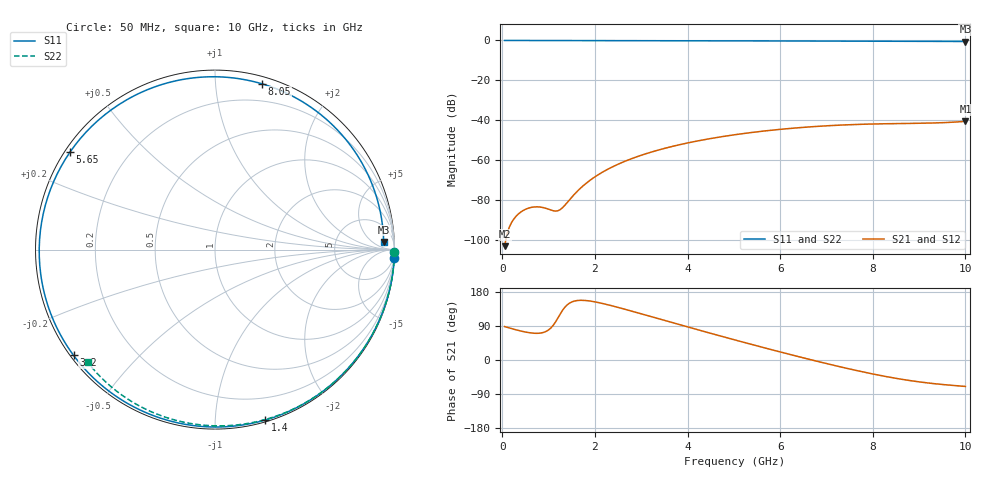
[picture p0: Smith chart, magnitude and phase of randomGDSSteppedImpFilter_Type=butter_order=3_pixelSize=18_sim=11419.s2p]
! freq	dB(S11)	phase(S11)	dB(S12)	phase(S12)
!  dB(S21)	phase(S21)	dB(S22)	phase(S22)
!S-par simulation data
#  GHz  S  DB  R 50
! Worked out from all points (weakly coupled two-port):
!   200 points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, 50 MHz to 10 GHz, reference 50 ohm
!   highest |S21| = -40.47 dB at 10 GHz (marker M1); lowest = -102.9 dB at 50 MHz (marker M2)
!   lowest |S11| = -0.5 dB at 10 GHz (marker M3), VSWR 32.67, Z = 1.05e+03 + j781 ohm
!   |S11| at or under -10 dB: nowhere
!   |S22| runs from -0.5 to 0.0 dB; largest |S21 - S12| = 0
!   S11 on the Smith chart (normalised r, x): 50 MHz: 0, -41; 1.4 GHz: 0.01, -1.34; 3.2 GHz: 0.01, -0.33; 5.65 GHz: 0.01, +0.31; 8.05 GHz: 0.06, +1.32; 10 GHz: 21, +16
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0.05  -0.00 -2.8  -102.90 88.2  -102.90 88.2  -0.00 -0.8
0.4  -0.03 -22.3  -85.81 76.5  -85.81 76.5  -0.01 -6.4
0.8  -0.06 -43.8  -83.29 70.7  -83.29 70.7  -0.02 -12.7
1.1  -0.07 -59.1  -85.18 91.7  -85.18 91.7  -0.02 -17.5
1.4  -0.09 -73.6  -81.11 145.4  -81.11 145.4  -0.03 -22.2
1.45  -0.09 -75.9  -79.74 149.9  -79.74 149.9  -0.03 -23.0
1.75  -0.10 -89.3  -72.62 157.4  -72.62 157.4  -0.04 -27.6
2.05  -0.11 -101.9  -67.47 152.2  -67.47 152.2  -0.04 -32.3
2.35  -0.12 -113.6  -63.56 143.6  -63.56 143.6  -0.05 -36.8
3.2  -0.14 -143.2  -55.96 115.0  -55.96 115.0  -0.07 -49.6
3.4  -0.15 -149.6  -54.62 108.0  -54.62 108.0  -0.07 -52.6
4.2  -0.17 -173.5  -50.34 80.5  -50.34 80.5  -0.09 -64.1
5.05  -0.21 162.6  -47.06 52.0  -47.06 52.0  -0.12 -76.0
5.65  -0.23 146.1  -45.31 32.5  -45.31 32.5  -0.14 -84.1
6.7  -0.28 116.2  -43.13 -0.4  -43.13 -0.4  -0.19 -97.9
7.4  -0.32 95.1  -42.24 -20.9  -42.24 -20.9  -0.23 -106.7
8.05  -0.35 74.2  -41.76 -38.1  -41.76 -38.1  -0.28 -114.8
8.35  -0.37 64.0  -41.63 -45.1  -41.63 -45.1  -0.30 -118.5
8.8  -0.40 48.2  -41.50 -54.2  -41.50 -54.2  -0.34 -124.0
9.25  -0.44 31.6  -41.32 -61.4  -41.32 -61.4  -0.39 -129.4
9.65  -0.48 16.4  -40.99 -66.3  -40.99 -66.3  -0.43 -134.3
10  -0.53 2.6  -40.47 -69.8  -40.47 -69.8  -0.47 -138.5
